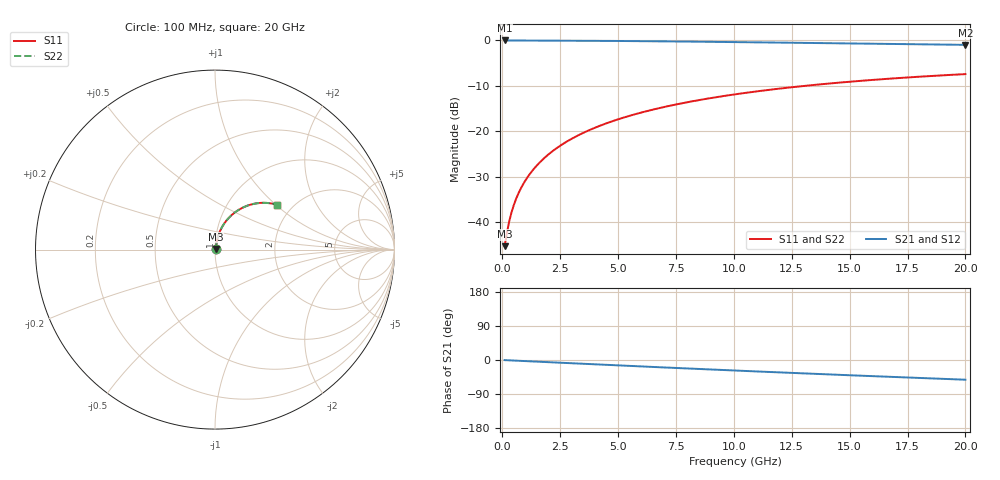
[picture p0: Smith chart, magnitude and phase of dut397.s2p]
! Touchstone file exported from HFSS 2026.1.0
!  File:  C:/ffzhzh/LocalFiles/Ansys_Project_Files/temp_train_TMRDL_397_1783004843_55676.aedt
!  Generated:  11:08:37 PM Jul  2, 2026
!  Design:  TMRDL
!  Project:  temp_train_TMRDL_397_1783004843_55676
! Variables:
!  h_bsmrdl = 2um
!  h_ox = 20um
!  h_rdl = 5um
!  h_sub = 80um
!  h_tmrdl = 3.44um
!  h_tsv = 80um
!  h_via = 3um
!  l_bsmrdl = 300um
!  l_sub = 1210.54um
!  l_tmrdl = 810.54um
!  m_sub = 200um
!  pitch = 40.94um
!  r_tsv = 6um
!  s_tmrdl = 10um
!  w_bsmrdl = 18um
!  w_sub = 500um
!  w_tmrdl = 19.2um
!  x_tsv_center1 = 820.14um
!  x_tsv_center2 = 1138.14um
!  x_tsv_center3 = 1967.88um
!  x_tsv_center4 = 2285.88um
!  x_tsv_center5 = 3115.62um
!  x_tsv_center6 = 3433.62um
# GHz S MA R 50.000000
! Terminal data exported
! Port[1] = TM_RDL1_1_T1
! Port[2] = TM_RDL1_1_T2
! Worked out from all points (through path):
!   200 points, 100 MHz to 20 GHz, reference 50 ohm
!   highest |S21| = -0.04 dB at 100 MHz (marker M1); lowest = -1.0 dB at 20 GHz (marker M2)
!   group delay of S21, straight-line fit = 7.22 ps
!   lowest |S11| = -45.3 dB at 100 MHz (marker M3), VSWR 1.01, Z = 50.5 + j0.309 ohm
!   |S11| at or under -10 dB: start of sweep to 13.11 GHz
!   |S22| runs from -45.3 to -7.4 dB; largest |S21 - S12| = 2.7e-15
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0.1  0.005452 34.2  0.9955 -0.3  0.9955 -0.3  0.005452 34.2
! Gamma 0 0 0 0
! Port Impedance 50 0 50 0
0.2  0.007679 51.9  0.9953 -0.6  0.9953 -0.6  0.007679 51.9
0.3  0.01024 60.6  0.9951 -0.9  0.9951 -0.9  0.01024 60.6
0.4  0.01288 65.5  0.9948 -1.2  0.9948 -1.2  0.01288 65.5
0.5  0.01552 68.7  0.9946 -1.5  0.9946 -1.5  0.01552 68.7
0.6  0.01816 70.9  0.9945 -1.8  0.9945 -1.8  0.01816 70.9
0.8  0.02347 73.8  0.9942 -2.3  0.9942 -2.3  0.02347 73.8
1.1  0.0315 76.1  0.9938 -3.2  0.9938 -3.2  0.0315 76.1
1.3  0.03688 77.0  0.9935 -3.8  0.9935 -3.8  0.03688 77.0
1.6  0.04499 77.6  0.993 -4.6  0.993 -4.6  0.04499 77.6
2.1  0.05852 77.8  0.9921 -6.0  0.9921 -6.0  0.05852 77.8
2.7  0.0747 77.2  0.9907 -7.7  0.9907 -7.7  0.0747 77.2
3.5  0.09607 75.8  0.9883 -10.0  0.9883 -10.0  0.09607 75.8
4.2  0.1145 74.2  0.9859 -12.0  0.9859 -12.0  0.1145 74.2
5  0.1352 72.3  0.9827 -14.2  0.9827 -14.2  0.1352 72.3
5.9  0.158 70.1  0.9786 -16.7  0.9786 -16.7  0.158 70.1
6.8  0.1801 67.8  0.9741 -19.1  0.9741 -19.1  0.1801 67.8
8.3  0.2156 64.0  0.9659 -23.2  0.9659 -23.2  0.2156 64.0
10.1  0.2556 59.5  0.9551 -27.9  0.9551 -27.9  0.2556 59.5
13.4  0.3217 51.4  0.9336 -36.3  0.9336 -36.3  0.3217 51.4
16.7  0.378 43.6  0.9117 -44.3  0.9117 -44.3  0.378 43.6
20  0.4247 36.2  0.8908 -52.0  0.8908 -52.0  0.4247 36.1
